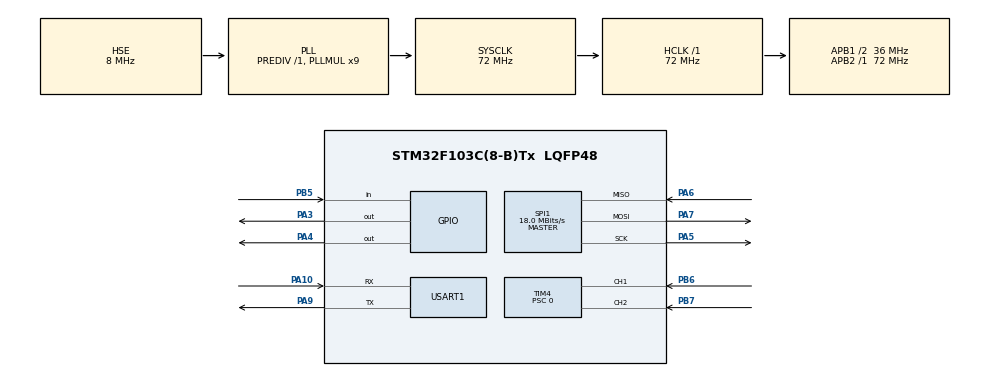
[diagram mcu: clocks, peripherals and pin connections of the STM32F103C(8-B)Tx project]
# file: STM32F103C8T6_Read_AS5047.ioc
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Mcu.Family=STM32F1
Mcu.Name=STM32F103C(8-B)Tx
Mcu.Package=LQFP48
NVIC.PriorityGroup=NVIC_PRIORITYGROUP_4
NVIC.TIM4_IRQn=true\:0\:0\:false\:false\:true\:true\:true\:true
PA10.Mode=Asynchronous
PA10.Signal=USART1_RX
PA13.Mode=Serial_Wire
PA13.Signal=SYS_JTMS-SWDIO
PA14.Mode=Serial_Wire
PA14.Signal=SYS_JTCK-SWCLK
PA3.Signal=GPIO_Output
PA4.PinState=GPIO_PIN_SET
PA4.Signal=GPIO_Output
PA5.Mode=Full_Duplex_Master
PA5.Signal=SPI1_SCK
PA6.Mode=Full_Duplex_Master
PA6.Signal=SPI1_MISO
PA7.Mode=Full_Duplex_Master
PA7.Signal=SPI1_MOSI
PA9.Mode=Asynchronous
PA9.Signal=USART1_TX
PB5.Signal=GPIO_Input
PB6.Signal=S_TIM4_CH1
PB7.Signal=S_TIM4_CH2
PD0-OSC_IN.Mode=HSE-External-Oscillator
PD0-OSC_IN.Signal=RCC_OSC_IN
PD1-OSC_OUT.Mode=HSE-External-Oscillator
PD1-OSC_OUT.Signal=RCC_OSC_OUT
ProjectManager.HeapSize=0x200
ProjectManager.StackSize=0x400
ProjectManager.TargetToolchain=MDK-ARM V5.32
RCC.AHBFreq_Value=72000000
RCC.APB1CLKDivider=RCC_HCLK_DIV2
RCC.APB1Freq_Value=36000000
RCC.APB1TimFreq_Value=72000000
RCC.APB2Freq_Value=72000000
RCC.APB2TimFreq_Value=72000000
RCC.HCLKFreq_Value=72000000
RCC.PLLMUL=RCC_PLL_MUL9
RCC.PLLSourceVirtual=RCC_PLLSOURCE_HSE
RCC.SYSCLKFreq_VALUE=72000000
RCC.SYSCLKSource=RCC_SYSCLKSOURCE_PLLCLK
RCC.USBFreq_Value=72000000
SH.S_TIM4_CH1.0=TIM4_CH1,Encoder_Interface
SH.S_TIM4_CH2.0=TIM4_CH2,Encoder_Interface
SPI1.BaudRatePrescaler=SPI_BAUDRATEPRESCALER_4
SPI1.CLKPhase=SPI_PHASE_2EDGE
SPI1.CalculateBaudRate=18.0 MBits/s
SPI1.DataSize=SPI_DATASIZE_16BIT
SPI1.Direction=SPI_DIRECTION_2LINES
SPI1.Mode=SPI_MODE_MASTER
SPI1.VirtualType=VM_MASTER
TIM4.AutoReloadPreload=TIM_AUTORELOAD_PRELOAD_DISABLE
TIM4.EncoderMode=TIM_ENCODERMODE_TI12
TIM4.Period=3999
TIM4.Prescaler=0
USART1.VirtualMode=VM_ASYNC
board=custom

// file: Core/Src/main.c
/* USER CODE BEGIN Header */
/**
  ******************************************************************************
  * @file           : main.c
  * @brief          : Main program body
  ******************************************************************************
  * @attention
  *
  * Copyright (c) 2022 STMicroelectronics.
  * All rights reserved.
  *
  * This software is licensed under terms that can be found in the LICENSE file
  * in the root directory of this software component.
  * If no LICENSE file comes with this software, it is provided AS-IS.
  *
  ******************************************************************************
  */
/* USER CODE END Header */
#include "main.h"
#include "spi.h"
#include "tim.h"
#include "usart.h"
#include "gpio.h"

/* USER CODE BEGIN Includes */
#include "AS5047P.h"
#include "stdio.h"
/* USER CODE END Includes */

void SystemClock_Config(void);

/* USER CODE BEGIN 0 */
uint16_t angle[2];
uint8_t buf[6];
int time=0;
int GetData,Direction,count;
int iTempTimEncoder;

int fputc(int ch, FILE *f)
{
 uint8_t temp[1] = {ch};
 HAL_UART_Transmit(&huart1, temp, 1, 2);
 return ch;
}

/* USER CODE END 0 */

int main(void)
{

  /* MCU Configuration--------------------------------------------------------*/

  /* Reset of all peripherals, Initializes the Flash interface and the Systick. */
  HAL_Init();

  /* Configure the system clock */
  SystemClock_Config();

  /* Initialize all configured peripherals */
  MX_GPIO_Init();
  MX_SPI1_Init();
  MX_USART1_UART_Init();
  MX_TIM4_Init();
  /* USER CODE BEGIN 2 */
	AS5047_Init();
	HAL_TIM_Encoder_Start(&htim4, TIM_CHANNEL_ALL);
  /* USER CODE END 2 */

  /* Infinite loop */
  /* USER CODE BEGIN WHILE */
  while (1)
  {

		GetData = __HAL_TIM_GET_COUNTER(&htim4);
		Direction = __HAL_TIM_IS_TIM_COUNTING_DOWN(&htim4);
		iTempTimEncoder=GetTimEncoder();
		printf("Speed: %d\r\n",iTempTimEncoder);

		angle[0]= AS5047_ReadData(0,ANGLEUNC_AS5047P_VOL_REG_ADD);//AS5047_ReadSPI(0);
    angle[1]= AS5047_ReadData(1,ANGLECOM_AS5047P_VOL_REG_ADD);//AS5047_ReadSPI(1);

    buf[0]='a';
    buf[1]= angle[0];
    buf[2]= angle[0]>>8;
    buf[3]= angle[1];
    buf[4]= angle[1]>>8;
    buf[5]='g';
		++time;
    HAL_Delay(1);
    HAL_UART_Transmit(&huart1,buf,sizeof(buf),100);
    /* USER CODE END WHILE */

  }
}

void SystemClock_Config(void)
{
  RCC_OscInitTypeDef RCC_OscInitStruct = {0};
  RCC_ClkInitTypeDef RCC_ClkInitStruct = {0};

  /** Initializes the RCC Oscillators according to the specified parameters
  * in the RCC_OscInitTypeDef structure.
  */
  RCC_OscInitStruct.OscillatorType = RCC_OSCILLATORTYPE_HSE;
  RCC_OscInitStruct.HSEState = RCC_HSE_ON;
  RCC_OscInitStruct.HSEPredivValue = RCC_HSE_PREDIV_DIV1;
  RCC_OscInitStruct.HSIState = RCC_HSI_ON;
  RCC_OscInitStruct.PLL.PLLState = RCC_PLL_ON;
  RCC_OscInitStruct.PLL.PLLSource = RCC_PLLSOURCE_HSE;
  RCC_OscInitStruct.PLL.PLLMUL = RCC_PLL_MUL9;
  if (HAL_RCC_OscConfig(&RCC_OscInitStruct) != HAL_OK)
  {
    Error_Handler();
  }

  /** Initializes the CPU, AHB and APB buses clocks
  */
  RCC_ClkInitStruct.ClockType = RCC_CLOCKTYPE_HCLK|RCC_CLOCKTYPE_SYSCLK
                              |RCC_CLOCKTYPE_PCLK1|RCC_CLOCKTYPE_PCLK2;
  RCC_ClkInitStruct.SYSCLKSource = RCC_SYSCLKSOURCE_PLLCLK;
  RCC_ClkInitStruct.AHBCLKDivider = RCC_SYSCLK_DIV1;
  RCC_ClkInitStruct.APB1CLKDivider = RCC_HCLK_DIV2;
  RCC_ClkInitStruct.APB2CLKDivider = RCC_HCLK_DIV1;

  if (HAL_RCC_ClockConfig(&RCC_ClkInitStruct, FLASH_LATENCY_2) != HAL_OK)
  {
    Error_Handler();
  }
}

void Error_Handler(void)
{
  __disable_irq();
  while (1)
  {
  }
}
